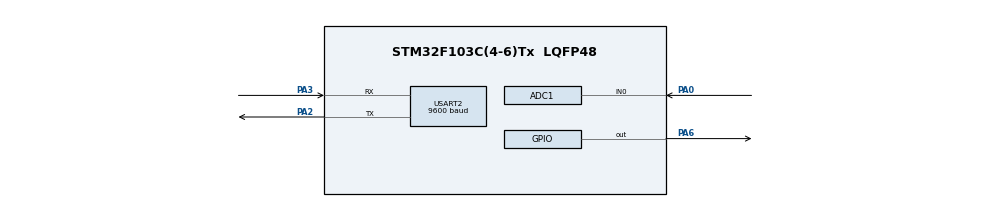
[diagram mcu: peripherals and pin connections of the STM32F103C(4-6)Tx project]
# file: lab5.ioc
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ADC1.Channel-0\#ChannelRegularConversion=ADC_CHANNEL_0
ADC1.ContinuousConvMode=ENABLE
ADC1.NbrOfConversionFlag=1
ADC1.Rank-0\#ChannelRegularConversion=1
ADC1.SamplingTime-0\#ChannelRegularConversion=ADC_SAMPLETIME_1CYCLE_5
ADC1.master=1
Mcu.Family=STM32F1
Mcu.Name=STM32F103C(4-6)Tx
Mcu.Package=LQFP48
NVIC.PriorityGroup=NVIC_PRIORITYGROUP_4
NVIC.TIM2_IRQn=true\:0\:0\:false\:false\:true\:true\:true
NVIC.USART2_IRQn=true\:0\:0\:false\:false\:true\:true\:true
PA0-WKUP.Signal=ADCx_IN0
PA2.Mode=Asynchronous
PA2.Signal=USART2_TX
PA3.Mode=Asynchronous
PA3.Signal=USART2_RX
PA6.Signal=GPIO_Output
ProjectManager.HeapSize=0x200
ProjectManager.StackSize=0x400
ProjectManager.TargetToolchain=STM32CubeIDE
RCC.APB1Freq_Value=8000000
RCC.APB2Freq_Value=8000000
SH.ADCx_IN0.0=ADC1_IN0,IN0
TIM2.Period=10-1
TIM2.Prescaler=8000-1
USART2.BaudRate=9600
USART2.VirtualMode=VM_ASYNC
VP_SYS_VS_ND.Mode=No_Debug
VP_TIM2_VS_ClockSourceINT.Mode=Internal
board=custom

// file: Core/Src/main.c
/* USER CODE BEGIN Header */
/**
  ******************************************************************************
  * @file           : main.c
  * @brief          : Main program body
  ******************************************************************************
  * @attention
  *
  * <h2><center>&copy; Copyright (c) 2021 STMicroelectronics.
  * All rights reserved.</center></h2>
  *
  * This software component is licensed by ST under BSD 3-Clause license,
  * the "License"; You may not use this file except in compliance with the
  * License. You may obtain a copy of the License at:
  *                        opensource.org/licenses/BSD-3-Clause
  *
  ******************************************************************************
  */
/* USER CODE END Header */
#include "main.h"

/* USER CODE BEGIN Includes */
#include "stdio.h"
#include "timer.h"
/* USER CODE END Includes */

/* USER CODE BEGIN PTD */
# define MAX_BUFFER_SIZE 30
enum getDataState{STATE_START,
	STATE_INTERMIDIATE,
	STATE_INTERMIDIATE_GET1,
	STATE_INTERMIDIATE_GET2,
	STATE_INTERMIDIATE_GET3,
	STATE_FINAL_GET,
	STATE_INTERMIDIATE_RES0,
	STATE_INTERMIDIATE_RES1,
	STATE_FINAL_RES};
enum command{NEW, RST, OK, WAITING};
enum status_send{SEND_AGAIN, NOT_SEND_AGAIN};
uint8_t temp = 0;
uint8_t buffer[MAX_BUFFER_SIZE];
uint8_t index_buffer = 0;
uint8_t buffer_flag = 0;

uint8_t stateGetData = STATE_START;
uint8_t stateCommanData = NEW;
const uint32_t MAX_TIME_ERROR_CONTROL = 3000; //3000ms

int lastValue = 0;
uint8_t command_flag = 0;
uint8_t command_data;

/* USER CODE END PTD */

ADC_HandleTypeDef hadc1;

TIM_HandleTypeDef htim2;

UART_HandleTypeDef huart2;

void SystemClock_Config(void);
static void MX_GPIO_Init(void);
static void MX_USART2_UART_Init(void);
static void MX_ADC1_Init(void);
static void MX_TIM2_Init(void);

/* USER CODE BEGIN 0 */
void HAL_UART_RxCpltCallback(UART_HandleTypeDef * huart ){
	if((huart -> Instance == USART2) && (buffer_flag == 0)){
		HAL_UART_Transmit(&huart2 , &temp , 1, 50);
		buffer[index_buffer++] = temp;
		if(index_buffer == MAX_BUFFER_SIZE) index_buffer = 0;
		buffer_flag = 1;
		HAL_UART_Receive_IT(&huart2 , &temp , 1);
	}
}

void sendDataSensor(uint8_t send_again){
	if(send_again == NOT_SEND_AGAIN){
		int ADC_value = HAL_ADC_GetValue(&hadc1);
		lastValue = ADC_value;
	}
	uint8_t str[10];
	uint8_t size = sprintf(str, "!ADC=%d# \r\n", lastValue);
	HAL_UART_Transmit(&huart2, (uint8_t *)str, size, 1000);
}

void command_parser_fsm(){
	//buffer contains input from the user
	switch(stateGetData){
	case STATE_START:
		//input = '!'
		if(buffer[(index_buffer-1>=0)?index_buffer-1:MAX_BUFFER_SIZE-1] == '!'){
			stateGetData = STATE_INTERMIDIATE;
		}
		break;
	case STATE_INTERMIDIATE:
		//input = 'R'
		if(buffer[(index_buffer-1>=0)?index_buffer-1:MAX_BUFFER_SIZE-1] == 'R'){
			stateGetData = STATE_INTERMIDIATE_GET1;
		}
		//input = 'O'
		else if(buffer[(index_buffer-1>=0)?index_buffer-1:MAX_BUFFER_SIZE-1] == 'O'){
			stateGetData = STATE_INTERMIDIATE_RES0;
		}
		else{
			stateGetData = STATE_START;
		}
		break;
	case STATE_INTERMIDIATE_GET1:
		//input = 'S'
		if(buffer[(index_buffer-1>=0)?index_buffer-1:MAX_BUFFER_SIZE-1] == 'S'){
			stateGetData = STATE_INTERMIDIATE_GET2;
		}
		else{
			stateGetData = STATE_START;
		}
		break;
	case STATE_INTERMIDIATE_GET2:
		//input = 'T'
		if(buffer[(index_buffer-1>=0)?index_buffer-1:MAX_BUFFER_SIZE-1] == 'T'){
			stateGetData = STATE_INTERMIDIATE_GET3;
		}
		else{
			stateGetData = STATE_START;
		}
		break;
	case STATE_INTERMIDIATE_GET3:
		//input = '#'
		if(buffer[(index_buffer-1>=0)?index_buffer-1:MAX_BUFFER_SIZE-1] == '#'){
			stateGetData = STATE_FINAL_GET;
		}
		else{
			stateGetData = STATE_START;
		}
		break;
	case STATE_FINAL_GET:
		//input = "enter" characters
		if(buffer[(index_buffer-1>=0)?index_buffer-1:MAX_BUFFER_SIZE-1] == 13){ //kí tự xuống dòng theo ASCII
			command_flag = 1;
			command_data = RST;
			stateGetData = STATE_START;
		}
		break;
	case STATE_INTERMIDIATE_RES0:
		//input = 'K'
		if(buffer[(index_buffer-1>=0)?index_buffer-1:MAX_BUFFER_SIZE-1] == 'K'){
			stateGetData = STATE_INTERMIDIATE_RES1;
		}
		else{
			stateGetData = STATE_START;
		}
		break;
	case STATE_INTERMIDIATE_RES1:
		//input = '#'
		if(buffer[(index_buffer-1>=0)?index_buffer-1:MAX_BUFFER_SIZE-1] == '#'){
			stateGetData = STATE_FINAL_RES;
		}
		else{
			stateGetData = STATE_START;
		}
		break;
	case STATE_FINAL_RES:
		//input = "enter" characters
		if(buffer[(index_buffer-1>=0)?index_buffer-1:MAX_BUFFER_SIZE-1] == 13){ //kí tự xuống dòng theo ASCII
			command_flag = 1;
			command_data = OK;
			stateGetData = STATE_START;
		}
		break;
	default:
		break;
	}
}
void uart_communiation_fsm(){
	if(command_flag == 1){
		//set state
		stateCommanData = command_data;
		command_flag = 0;
	}
	switch(stateCommanData){
	case NEW:
		break;
	case RST:
		//send new data to user
		sendDataSensor(NOT_SEND_AGAIN);
		//change state
		stateCommanData = WAITING;
		//set timer for error control
		setTimer0(MAX_TIME_ERROR_CONTROL);
		break;
	case WAITING:
		//time out
		if(getTimerOut()){
			//send last missed data
			sendDataSensor(SEND_AGAIN);
			//set timer for error control
			setTimer0(MAX_TIME_ERROR_CONTROL);
		}
		break;
	case OK:
		//reset timer
		offTimer();
		//change state
		stateCommanData = NEW;
		break;
	}
}
/* USER CODE END 0 */

int main(void)
{

  /* MCU Configuration--------------------------------------------------------*/

  /* Reset of all peripherals, Initializes the Flash interface and the Systick. */
  HAL_Init();

  /* Configure the system clock */
  SystemClock_Config();

  /* Initialize all configured peripherals */
  MX_GPIO_Init();
  MX_USART2_UART_Init();
  MX_ADC1_Init();
  MX_TIM2_Init();
  /* USER CODE BEGIN 2 */
  HAL_UART_Receive_IT(& huart2, &temp, 1);
  HAL_ADC_Start_IT(&hadc1);
  HAL_TIM_Base_Start_IT(&htim2);
  /* USER CODE END 2 */

  /* Infinite loop */
  /* USER CODE BEGIN WHILE */
  while (1)
  {
	  if(buffer_flag){
		  command_parser_fsm();
		  buffer_flag = 0;
	  }
	  uart_communiation_fsm();
    /* USER CODE END WHILE */

  }
}

void SystemClock_Config(void)
{
  RCC_OscInitTypeDef RCC_OscInitStruct = {0};
  RCC_ClkInitTypeDef RCC_ClkInitStruct = {0};
  RCC_PeriphCLKInitTypeDef PeriphClkInit = {0};

  /** Initializes the RCC Oscillators according to the specified parameters
  * in the RCC_OscInitTypeDef structure.
  */
  RCC_OscInitStruct.OscillatorType = RCC_OSCILLATORTYPE_HSI;
  RCC_OscInitStruct.HSIState = RCC_HSI_ON;
  RCC_OscInitStruct.HSICalibrationValue = RCC_HSICALIBRATION_DEFAULT;
  RCC_OscInitStruct.PLL.PLLState = RCC_PLL_NONE;
  if (HAL_RCC_OscConfig(&RCC_OscInitStruct) != HAL_OK)
  {
    Error_Handler();
  }
  /** Initializes the CPU, AHB and APB buses clocks
  */
  RCC_ClkInitStruct.ClockType = RCC_CLOCKTYPE_HCLK|RCC_CLOCKTYPE_SYSCLK
                              |RCC_CLOCKTYPE_PCLK1|RCC_CLOCKTYPE_PCLK2;
  RCC_ClkInitStruct.SYSCLKSource = RCC_SYSCLKSOURCE_HSI;
  RCC_ClkInitStruct.AHBCLKDivider = RCC_SYSCLK_DIV1;
  RCC_ClkInitStruct.APB1CLKDivider = RCC_HCLK_DIV1;
  RCC_ClkInitStruct.APB2CLKDivider = RCC_HCLK_DIV1;

  if (HAL_RCC_ClockConfig(&RCC_ClkInitStruct, FLASH_LATENCY_0) != HAL_OK)
  {
    Error_Handler();
  }
  PeriphClkInit.PeriphClockSelection = RCC_PERIPHCLK_ADC;
  PeriphClkInit.AdcClockSelection = RCC_ADCPCLK2_DIV2;
  if (HAL_RCCEx_PeriphCLKConfig(&PeriphClkInit) != HAL_OK)
  {
    Error_Handler();
  }
}

static void MX_ADC1_Init(void)
{

  ADC_ChannelConfTypeDef sConfig = {0};

  /** Common config
  */
  hadc1.Instance = ADC1;
  hadc1.Init.ScanConvMode = ADC_SCAN_DISABLE;
  hadc1.Init.ContinuousConvMode = ENABLE;
  hadc1.Init.DiscontinuousConvMode = DISABLE;
  hadc1.Init.ExternalTrigConv = ADC_SOFTWARE_START;
  hadc1.Init.DataAlign = ADC_DATAALIGN_RIGHT;
  hadc1.Init.NbrOfConversion = 1;
  if (HAL_ADC_Init(&hadc1) != HAL_OK)
  {
    Error_Handler();
  }
  /** Configure Regular Channel
  */
  sConfig.Channel = ADC_CHANNEL_0;
  sConfig.Rank = ADC_REGULAR_RANK_1;
  sConfig.SamplingTime = ADC_SAMPLETIME_1CYCLE_5;
  if (HAL_ADC_ConfigChannel(&hadc1, &sConfig) != HAL_OK)
  {
    Error_Handler();
  }

}

static void MX_TIM2_Init(void)
{

  TIM_ClockConfigTypeDef sClockSourceConfig = {0};
  TIM_MasterConfigTypeDef sMasterConfig = {0};

  htim2.Instance = TIM2;
  htim2.Init.Prescaler = 8000-1;
  htim2.Init.CounterMode = TIM_COUNTERMODE_UP;
  htim2.Init.Period = 10-1;
  htim2.Init.ClockDivision = TIM_CLOCKDIVISION_DIV1;
  htim2.Init.AutoReloadPreload = TIM_AUTORELOAD_PRELOAD_DISABLE;
  if (HAL_TIM_Base_Init(&htim2) != HAL_OK)
  {
    Error_Handler();
  }
  sClockSourceConfig.ClockSource = TIM_CLOCKSOURCE_INTERNAL;
  if (HAL_TIM_ConfigClockSource(&htim2, &sClockSourceConfig) != HAL_OK)
  {
    Error_Handler();
  }
  sMasterConfig.MasterOutputTrigger = TIM_TRGO_RESET;
  sMasterConfig.MasterSlaveMode = TIM_MASTERSLAVEMODE_DISABLE;
  if (HAL_TIMEx_MasterConfigSynchronization(&htim2, &sMasterConfig) != HAL_OK)
  {
    Error_Handler();
  }

}

static void MX_USART2_UART_Init(void)
{

  huart2.Instance = USART2;
  huart2.Init.BaudRate = 9600;
  huart2.Init.WordLength = UART_WORDLENGTH_8B;
  huart2.Init.StopBits = UART_STOPBITS_1;
  huart2.Init.Parity = UART_PARITY_NONE;
  huart2.Init.Mode = UART_MODE_TX_RX;
  huart2.Init.HwFlowCtl = UART_HWCONTROL_NONE;
  huart2.Init.OverSampling = UART_OVERSAMPLING_16;
  if (HAL_UART_Init(&huart2) != HAL_OK)
  {
    Error_Handler();
  }

}

static void MX_GPIO_Init(void)
{
  GPIO_InitTypeDef GPIO_InitStruct = {0};

  /* GPIO Ports Clock Enable */
  __HAL_RCC_GPIOA_CLK_ENABLE();

  /*Configure GPIO pin Output Level */
  HAL_GPIO_WritePin(GPIOA, GPIO_PIN_6, GPIO_PIN_RESET);

  /*Configure GPIO pin : PA6 */
  GPIO_InitStruct.Pin = GPIO_PIN_6;
  GPIO_InitStruct.Mode = GPIO_MODE_OUTPUT_PP;
  GPIO_InitStruct.Pull = GPIO_NOPULL;
  GPIO_InitStruct.Speed = GPIO_SPEED_FREQ_LOW;
  HAL_GPIO_Init(GPIOA, &GPIO_InitStruct);

}

void Error_Handler(void)
{
  __disable_irq();
  while (1)
  {
  }
}

/************************ (C) COPYRIGHT STMicroelectronics *****END OF FILE****/
